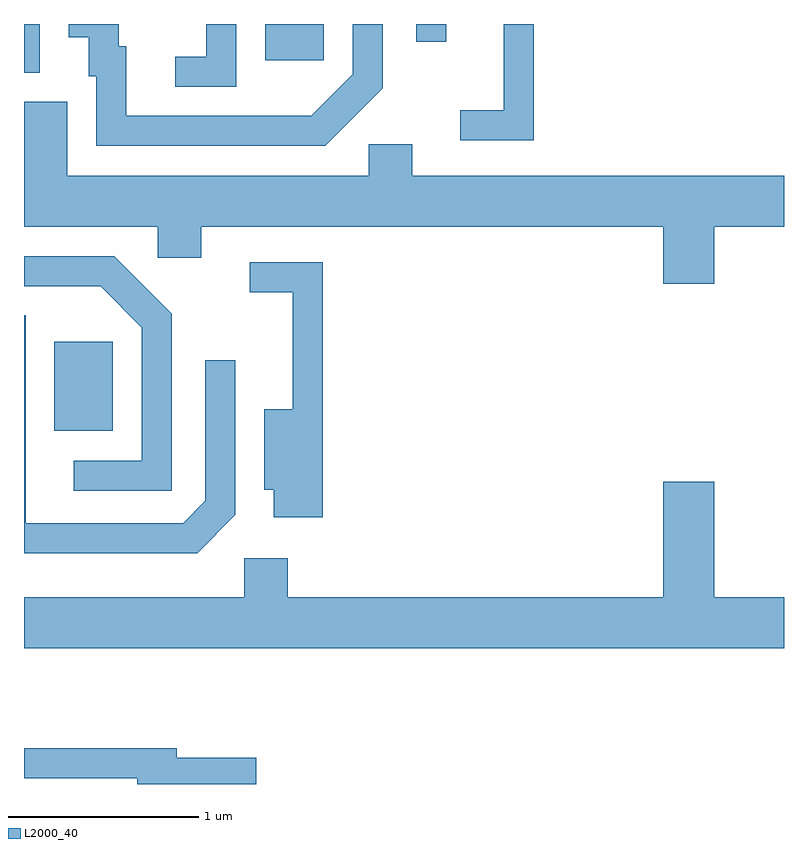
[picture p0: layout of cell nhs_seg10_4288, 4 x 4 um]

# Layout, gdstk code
import gdstk
lib = gdstk.Library(unit=1e-6, precision=1e-09)
def R(c, l, rs):  # rectangles x0, y0, x1, y1
    for r in rs: c.add(gdstk.rectangle(r[:2], r[2:], *l))
def P(c, l, *ps):  # polygons
    for p in ps: c.add(gdstk.Polygon(p, *l))
L2000_40 = (2000, 40)

nhs_seg10_4288 = lib.new_cell('nhs_seg10_4288')
R(nhs_seg10_4288, L2000_40, [(311.771,2128.381,312.079,2128.849), (311.611,2130.266,311.694,2130.522), (312.881,2130.331,313.189,2130.522), (313.676,2130.428,313.834,2130.522)])
P(nhs_seg10_4288, L2000_40, [(312.729,2130.522),(312.571,2130.522),(312.571,2130.349),(312.408,2130.349),(312.408,2130.191),(312.729,2130.191)],
  [(313.499,2130.184),(313.499,2130.522),(313.341,2130.522),(313.341,2130.257),(313.124,2130.039),(312.149,2130.039),(312.149,2130.404),(312.109,2130.404),(312.109,2130.522),(311.846,2130.522),(311.846,2130.451),(311.951,2130.451),(311.951,2130.246),(311.991,2130.246),(311.991,2129.881),(313.197,2129.881)],
  [(314.294,2130.522),(314.136,2130.522),(314.136,2130.069),(313.908,2130.069),(313.908,2129.911),(314.294,2129.911)],
  [(315.244,2129.456),(315.611,2129.456),(315.611,2129.724),(313.654,2129.724),(313.654,2129.889),(313.426,2129.889),(313.426,2129.724),(311.839,2129.724),(311.839,2130.114),(311.611,2130.114),(311.611,2129.456),(312.316,2129.456),(312.316,2129.291),(312.544,2129.291),(312.544,2129.456),(314.976,2129.456),(314.976,2129.156),(315.244,2129.156)],
  [(312.389,2128.997),(312.087,2129.299),(311.611,2129.299),(311.611,2129.141),(312.014,2129.141),(312.231,2128.924),(312.231,2128.224),(311.873,2128.224),(311.873,2128.066),(312.389,2128.066)],
  [(313.184,2129.269),(312.798,2129.269),(312.798,2129.111),(313.026,2129.111),(313.026,2128.494),(312.876,2128.494),(312.876,2128.071),(312.926,2128.071),(312.926,2127.926),(313.184,2127.926)],
  [(312.724,2127.939),(312.724,2128.753),(312.566,2128.753),(312.566,2128.012),(312.449,2127.894),(311.619,2127.894),(311.619,2128.989),(311.611,2128.989),(311.611,2127.736),(312.522,2127.736)],
  [(312.771,2127.709),(312.771,2127.504),(311.611,2127.504),(311.611,2127.236),(315.611,2127.236),(315.611,2127.504),(315.244,2127.504),(315.244,2128.114),(314.976,2128.114),(314.976,2127.504),(312.999,2127.504),(312.999,2127.709)],
  [(312.834,2126.659),(312.414,2126.659),(312.414,2126.709),(311.611,2126.709),(311.611,2126.551),(312.206,2126.551),(312.206,2126.522),(312.834,2126.522)])

lib.write_gds('nhs_seg10_4288.gds')
